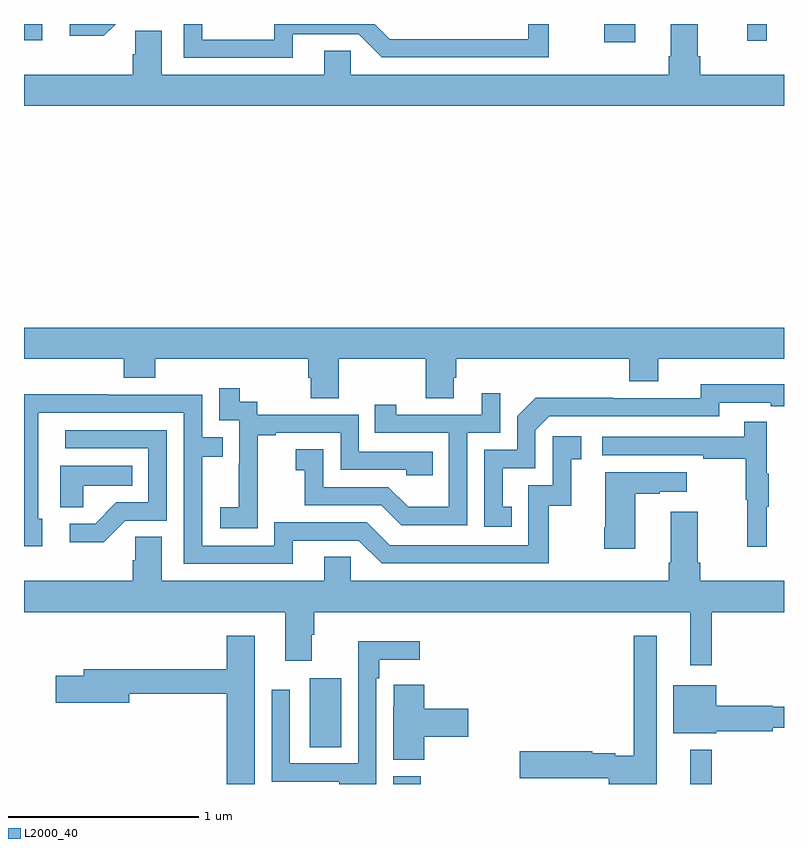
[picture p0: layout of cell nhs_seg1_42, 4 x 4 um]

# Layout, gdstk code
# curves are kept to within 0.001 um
import gdstk
lib = gdstk.Library(unit=1e-6, precision=1e-09)
def R(c, l, rs):  # rectangles x0, y0, x1, y1
    for r in rs: c.add(gdstk.rectangle(r[:2], r[2:], *l))
def P(c, l, *ps):  # polygons
    for p in ps: c.add(gdstk.Polygon(p, *l))
L2000_40 = (2000, 40)

nhs_seg1_42 = lib.new_cell('nhs_seg1_42')
R(nhs_seg1_42, L2000_40, [(114.944,512.199,115.088,512.241), (116.507,512.199,116.621,512.38), (114.503,512.392,114.67,512.755), (116.053,516.102,116.218,516.199), (116.806,516.111,116.909,516.199), (113,516.114,113.095,516.199)])
P(nhs_seg1_42, L2000_40, [(114.415,516.144),(114.762,516.144),(114.882,516.024),(115.762,516.024),(115.762,516.199),(115.653,516.199),(115.653,516.12),(114.924,516.12),(114.845,516.199),(114.318,516.199),(114.318,516.117),(113.937,516.117),(113.937,516.199),(113.841,516.199),(113.841,516.021),(114.415,516.021)],
  [(113.482,516.199),(113.241,516.199),(113.241,516.137),(113.419,516.137)],
  [(117,515.932),(116.558,515.932),(116.558,516.028),(116.545,516.028),(116.545,516.199),(116.405,516.199),(116.405,516.028),(116.393,516.028),(116.393,515.932),(114.72,515.932),(114.72,516.059),(114.581,516.059),(114.581,515.932),(113.725,515.932),(113.725,516.164),(113.586,516.164),(113.586,516.041),(113.573,516.041),(113.573,515.932),(113,515.932),(113,515.768),(117,515.768)],
  [(114.657,514.436),(115.114,514.436),(115.114,514.228),(115.261,514.228),(115.261,514.338),(115.274,514.338),(115.274,514.436),(116.186,514.436),(116.186,514.319),(116.338,514.319),(116.338,514.436),(117,514.436),(117,514.6),(113,514.6),(113,514.436),(113.525,514.436),(113.525,514.337),(113.69,514.337),(113.69,514.436),(114.497,514.436),(114.497,514.338),(114.509,514.338),(114.509,514.228),(114.657,514.228)],
  [(115.568,513.657),(115.519,513.657),(115.519,513.861),(115.692,513.861),(115.692,514.062),(115.764,514.134),(116.658,514.134),(116.658,514.206),(116.93,514.206),(116.93,514.186),(117,514.186),(117,514.302),(116.562,514.303),(116.562,514.23),(116.102,514.23),(116.102,514.232),(115.694,514.232),(115.596,514.134),(115.596,513.957),(115.422,513.957),(115.422,513.552),(115.568,513.552)],
  [(114.231,513.751),(114.23,513.751),(114.23,514.035),(114.325,514.035),(114.325,514.047),(114.666,514.047),(114.666,513.852),(115.011,513.852),(115.011,513.825),(115.151,513.825),(115.151,513.948),(114.762,513.948),(114.762,514.143),(114.228,514.143),(114.228,514.212),(114.136,514.212),(114.136,514.282),(114.027,514.282),(114.027,514.113),(114.132,514.113),(114.132,513.884),(114.131,513.884),(114.131,513.655),(114.033,513.655),(114.033,513.545),(114.231,513.545)],
  [(115.332,514.047),(115.506,514.047),(115.506,514.255),(115.409,514.255),(115.409,514.143),(114.958,514.143),(114.958,514.195),(114.847,514.195),(114.847,514.047),(115.236,514.047),(115.236,513.658),(115.022,513.658),(114.918,513.762),(114.576,513.762),(114.576,513.961),(114.429,513.961),(114.429,513.851),(114.478,513.851),(114.478,513.666),(114.881,513.666),(114.986,513.561),(115.332,513.561)],
  [(114.415,513.48),(114.762,513.48),(114.882,513.36),(115.762,513.36),(115.762,513.663),(115.88,513.663),(115.88,513.909),(115.933,513.909),(115.933,514.03),(115.782,514.03),(115.782,513.771),(115.653,513.771),(115.653,513.456),(114.924,513.456),(114.804,513.576),(114.318,513.576),(114.318,513.453),(113.937,513.453),(113.937,513.922),(114.047,513.922),(114.047,514.023),(113.937,514.023),(113.937,514.248),(113.441,514.248),(113.441,514.25),(113,514.25),(113,513.45),(113.095,513.45),(113.095,513.594),(113.076,513.594),(113.076,514.152),(113.841,514.152),(113.841,513.357),(114.415,513.357)],
  [(116.909,513.659),(116.92,513.659),(116.92,513.833),(116.909,513.833),(116.909,514.105),(116.791,514.105),(116.791,514.026),(116.043,514.026),(116.043,513.93),(116.575,513.93),(116.575,513.91),(116.799,513.91),(116.799,513.696),(116.806,513.696),(116.806,513.447),(116.909,513.447)],
  [(113.532,513.585),(113.751,513.585),(113.751,514.062),(113.217,514.062),(113.217,513.966),(113.655,513.966),(113.655,513.681),(113.486,513.681),(113.375,513.57),(113.241,513.57),(113.241,513.472),(113.419,513.472)],
  [(113.313,513.77),(113.57,513.77),(113.57,513.874),(113.192,513.874),(113.192,513.655),(113.313,513.655)],
  [(116.218,513.727),(116.345,513.727),(116.345,513.737),(116.488,513.737),(116.488,513.841),(116.06,513.841),(116.06,513.55),(116.053,513.55),(116.053,513.438),(116.218,513.438)],
  [(116.621,513.104),(117,513.104),(117,513.268),(116.558,513.268),(116.558,513.364),(116.545,513.364),(116.545,513.631),(116.405,513.631),(116.405,513.364),(116.393,513.364),(116.393,513.268),(114.72,513.268),(114.72,513.395),(114.581,513.395),(114.581,513.268),(113.725,513.268),(113.725,513.5),(113.586,513.5),(113.586,513.377),(113.573,513.377),(113.573,513.268),(113,513.268),(113,513.104),(114.374,513.104),(114.374,512.847),(114.514,512.847),(114.514,512.984),(114.527,512.984),(114.527,513.104),(116.507,513.104),(116.507,512.823),(116.621,512.823)],
  [(114.214,512.98),(114.068,512.98),(114.068,512.803),(113.315,512.803),(113.315,512.769),(113.166,512.769),(113.166,512.627),(113.554,512.627),(113.554,512.674),(114.068,512.674),(114.068,512.199),(114.214,512.199)],
  [(116.329,512.98),(116.208,512.98),(116.208,512.347),(116.111,512.347),(116.111,512.36),(115.992,512.36),(115.992,512.371),(115.608,512.371),(115.608,512.23),(116.078,512.23),(116.078,512.199),(116.329,512.199)],
  [(114.855,512.756),(114.871,512.756),(114.871,512.852),(115.084,512.852),(115.084,512.95),(114.759,512.95),(114.759,512.307),(114.399,512.307),(114.399,512.695),(114.303,512.695),(114.303,512.211),(114.659,512.211),(114.659,512.199),(114.855,512.199)],
  [(115.106,512.447),(115.339,512.447),(115.339,512.594),(115.106,512.594),(115.106,512.722),(114.945,512.722),(114.945,512.609),(114.944,512.609),(114.944,512.326),(115.106,512.326)],
  [(116.644,512.476),(116.94,512.476),(116.94,512.495),(117,512.495),(117,512.605),(116.94,512.605),(116.94,512.612),(116.644,512.612),(116.644,512.719),(116.417,512.719),(116.417,512.465),(116.644,512.465)])

lib.write_gds('nhs_seg1_42.gds')
